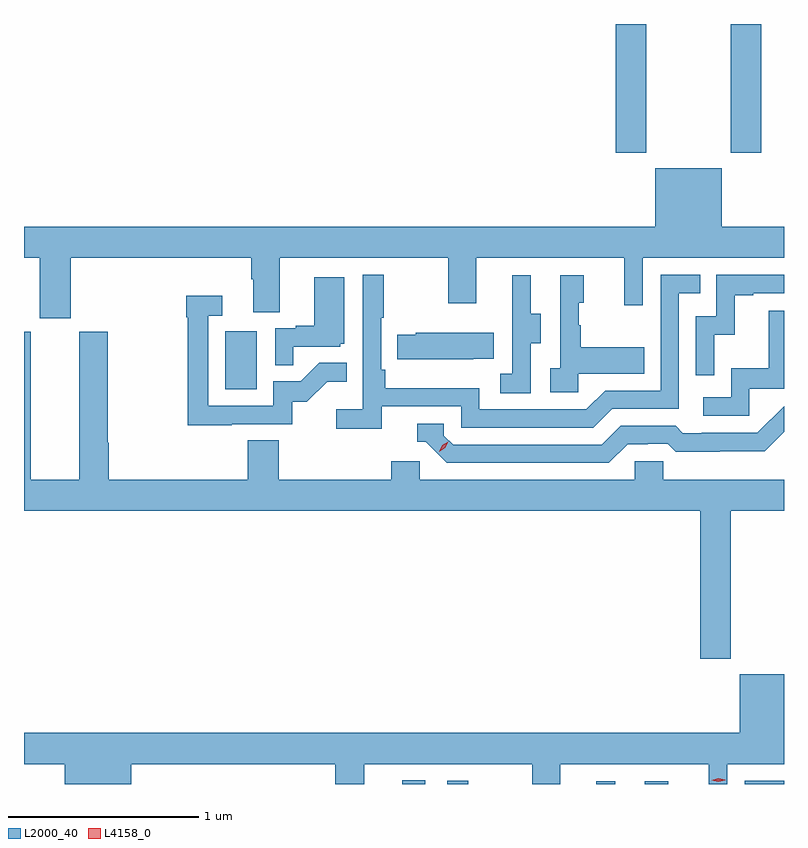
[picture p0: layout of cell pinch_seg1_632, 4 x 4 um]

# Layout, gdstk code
import gdstk
lib = gdstk.Library(unit=1e-6, precision=1e-09)
def R(c, l, rs):  # rectangles x0, y0, x1, y1
    for r in rs: c.add(gdstk.rectangle(r[:2], r[2:], *l))
def P(c, l, *ps):  # polygons
    for p in ps: c.add(gdstk.Polygon(p, *l))
L2000_40 = (2000, 40)
L4158_0 = (4158, 0)

pinch_seg1_632 = lib.new_cell('pinch_seg1_632')
R(pinch_seg1_632, L2000_40, [(1078.892,512.999,1079.014,513.019), (1079.13,512.999,1079.239,513.016), (1079.915,512.999,1080.013,513.013), (1080.168,512.999,1080.292,513.013), (1080.696,512.999,1080.902,513.015), (1077.962,515.076,1078.126,515.383), (1080.017,516.321,1080.177,516.999), (1080.622,516.321,1080.782,516.999)])
P(pinch_seg1_632, L2000_40, [(1077.148,515.768),(1078.097,515.768),(1078.097,515.656),(1078.109,515.656),(1078.109,515.482),(1078.249,515.482),(1078.249,515.768),(1079.134,515.768),(1079.134,515.529),(1079.281,515.529),(1079.281,515.768),(1080.062,515.768),(1080.062,515.52),(1080.159,515.52),(1080.159,515.768),(1080.902,515.768),(1080.902,515.932),(1080.574,515.932),(1080.574,516.241),(1080.224,516.241),(1080.224,515.932),(1076.902,515.932),(1076.902,515.768),(1076.984,515.768),(1076.984,515.451),(1077.148,515.451)],
  [(1078.784,514.986),(1079.202,514.986),(1079.202,514.875),(1079.899,514.875),(1079.998,514.974),(1080.348,514.974),(1080.348,515.583),(1080.461,515.583),(1080.461,515.679),(1080.252,515.679),(1080.252,515.07),(1079.961,515.07),(1079.862,514.971),(1079.298,514.971),(1079.298,515.083),(1078.802,515.083),(1078.802,515.179),(1078.782,515.179),(1078.782,515.452),(1078.795,515.452),(1078.795,515.68),(1078.686,515.68),(1078.686,514.972),(1078.545,514.972),(1078.545,514.87),(1078.784,514.87)],
  [(1080.534,515.363),(1080.644,515.363),(1080.644,515.571),(1080.739,515.571),(1080.739,515.583),(1080.902,515.583),(1080.902,515.679),(1080.546,515.679),(1080.546,515.46),(1080.438,515.46),(1080.438,515.151),(1080.534,515.151)],
  [(1079.82,515.159),(1080.167,515.159),(1080.167,515.299),(1079.833,515.299),(1079.833,515.414),(1079.823,515.414),(1079.823,515.532),(1079.848,515.532),(1079.848,515.677),(1079.724,515.677),(1079.724,515.186),(1079.673,515.186),(1079.673,515.061),(1079.82,515.061)],
  [(1079.568,515.32),(1079.623,515.32),(1079.623,515.475),(1079.569,515.475),(1079.569,515.677),(1079.471,515.677),(1079.471,515.463),(1079.472,515.463),(1079.472,515.159),(1079.409,515.159),(1079.409,515.056),(1079.568,515.056)],
  [(1078.319,515.301),(1078.566,515.301),(1078.566,515.316),(1078.588,515.316),(1078.588,515.665),(1078.43,515.665),(1078.43,515.41),(1078.331,515.41),(1078.331,515.397),(1078.224,515.397),(1078.224,515.203),(1078.319,515.203)],
  [(1077.995,514.893),(1078.314,514.893),(1078.314,515.01),(1078.39,515.01),(1078.497,515.117),(1078.601,515.117),(1078.601,515.216),(1078.457,515.216),(1078.359,515.118),(1078.215,515.118),(1078.215,514.989),(1077.873,514.989),(1077.873,515.463),(1077.946,515.463),(1077.946,515.569),(1077.757,515.569),(1077.757,515.456),(1077.765,515.456),(1077.765,514.888),(1077.995,514.888)],
  [(1080.72,515.079),(1080.902,515.079),(1080.902,515.491),(1080.823,515.491),(1080.823,515.188),(1080.624,515.188),(1080.624,515.034),(1080.477,515.034),(1080.477,514.938),(1080.72,514.938)],
  [(1080.621,514.436),(1080.902,514.436),(1080.902,514.6),(1080.267,514.6),(1080.267,514.698),(1080.117,514.698),(1080.117,514.6),(1078.986,514.6),(1078.986,514.698),(1078.835,514.698),(1078.835,514.6),(1078.244,514.6),(1078.244,514.808),(1078.079,514.808),(1078.079,514.6),(1077.347,514.6),(1077.347,514.796),(1077.342,514.796),(1077.342,515.379),(1077.194,515.379),(1077.194,514.6),(1076.938,514.6),(1076.938,515.379),(1076.902,515.379),(1076.902,514.436),(1080.461,514.436),(1080.461,513.657),(1080.621,513.657)],
  [(1079.267,515.237),(1079.375,515.237),(1079.375,515.374),(1078.965,515.374),(1078.965,515.364),(1078.867,515.364),(1078.867,515.234),(1079.267,515.234)],
  [(1080.079,514.788),(1080.186,514.788),(1080.186,514.791),(1080.289,514.791),(1080.331,514.749),(1080.564,514.749),(1080.564,514.751),(1080.8,514.751),(1080.902,514.853),(1080.902,514.988),(1080.762,514.848),(1080.469,514.848),(1080.469,514.845),(1080.37,514.845),(1080.331,514.884),(1080.042,514.884),(1079.943,514.785),(1079.16,514.785),(1079.112,514.833),(1079.112,514.896),(1078.973,514.896),(1078.973,514.8),(1079.016,514.8),(1079.127,514.689),(1079.98,514.689)],
  [(1076.902,513.104),(1077.116,513.104),(1077.116,512.999),(1077.466,512.999),(1077.466,513.104),(1078.541,513.104),(1078.541,512.999),(1078.693,512.999),(1078.693,513.104),(1079.578,513.104),(1079.578,512.999),(1079.725,512.999),(1079.725,513.104),(1080.506,513.104),(1080.506,512.999),(1080.603,512.999),(1080.603,513.104),(1080.902,513.104),(1080.902,513.577),(1080.668,513.577),(1080.668,513.268),(1076.902,513.268)])
P(pinch_seg1_632, L4158_0, [(1079.087,514.748),(1079.087,514.749),(1079.103,514.781),(1079.134,514.8),(1079.134,514.8),(1079.134,514.8),(1079.118,514.768),(1079.088,514.748)],
  [(1080.556,513.01),(1080.521,513.02),(1080.52,513.02),(1080.521,513.02),(1080.556,513.03),(1080.592,513.021),(1080.592,513.021),(1080.592,513.02)])

lib.write_gds('pinch_seg1_632.gds')
